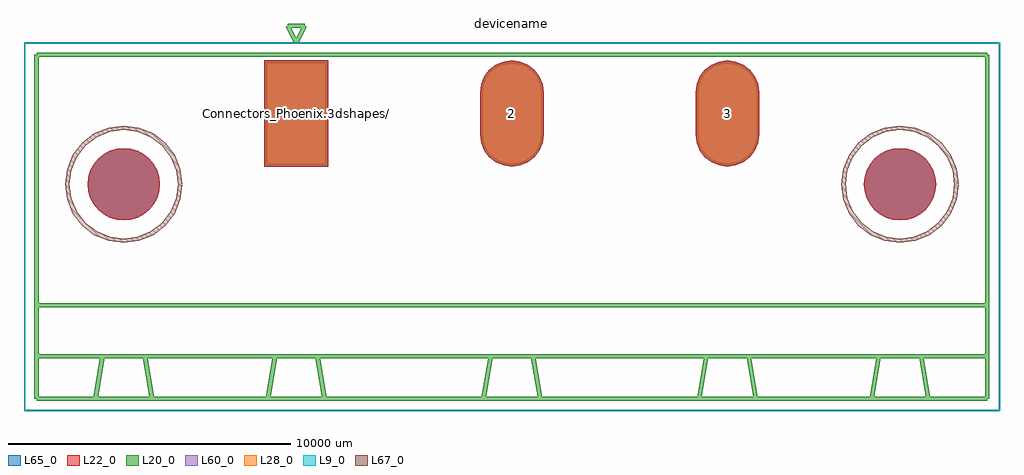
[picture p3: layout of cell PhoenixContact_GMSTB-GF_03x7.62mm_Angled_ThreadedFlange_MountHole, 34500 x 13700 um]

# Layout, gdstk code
import gdstk
lib = gdstk.Library(unit=1e-6, precision=1e-09)
def R(c, l, rs):  # rectangles x0, y0, x1, y1
    for r in rs: c.add(gdstk.rectangle(r[:2], r[2:], *l))
def P(c, l, *ps):  # polygons
    for p in ps: c.add(gdstk.Polygon(p, *l))
L9_0 = (9, 0)
L20_0 = (20, 0)
L22_0 = (22, 0)
L28_0 = (28, 0)
L60_0 = (60, 0)
L65_0 = (65, 0)
L67_0 = (67, 0)

phoenixcontact_gmstb_gf_ = lib.new_cell('PhoenixContact_GMSTB-GF_03x7.62mm_Angled_ThreadedFlange_MountHole')
R(phoenixcontact_gmstb_gf_, L22_0, [(-1125,-1875,1125,1875)])
P(phoenixcontact_gmstb_gf_, L22_0, [(22615,-2500),(22590.501,-2251.26),(22517.946,-2012.079),(22400.124,-1791.648),(22241.561,-1598.439),(22048.352,-1439.876),(21827.921,-1322.054),(21588.74,-1249.499),(21340,-1225),(21091.26,-1249.499),(20852.079,-1322.054),(20631.648,-1439.876),(20438.439,-1598.439),(20279.876,-1791.648),(20162.054,-2012.079),(20089.499,-2251.26),(20065,-2500),(20089.499,-2748.74),(20162.054,-2987.921),(20279.876,-3208.352),(20438.439,-3401.561),(20631.648,-3560.124),(20852.079,-3677.946),(21091.26,-3750.501),(21340,-3775),(21588.74,-3750.501),(21827.921,-3677.946),(22048.352,-3560.124),(22241.561,-3401.561),(22400.124,-3208.352),(22517.946,-2987.921),(22590.501,-2748.74)],
  [(-4825,-2500),(-4849.499,-2251.26),(-4922.054,-2012.079),(-5039.876,-1791.648),(-5198.439,-1598.439),(-5391.648,-1439.876),(-5612.079,-1322.054),(-5851.26,-1249.499),(-6100,-1225),(-6348.74,-1249.499),(-6587.921,-1322.054),(-6808.352,-1439.876),(-7001.561,-1598.439),(-7160.124,-1791.648),(-7277.946,-2012.079),(-7350.501,-2251.26),(-7375,-2500),(-7350.501,-2748.74),(-7277.946,-2987.921),(-7160.124,-3208.352),(-7001.561,-3401.561),(-6808.352,-3560.124),(-6587.921,-3677.946),(-6348.74,-3750.501),(-6100,-3775),(-5851.26,-3750.501),(-5612.079,-3677.946),(-5391.648,-3560.124),(-5198.439,-3401.561),(-5039.876,-3208.352),(-4922.054,-2987.921),(-4849.499,-2748.74)],
  [(15240,-1875),(15531.171,-1836.667),(15802.5,-1724.279),(16035.495,-1545.495),(16214.279,-1312.5),(16326.667,-1041.171),(16365,-750),(16365,750),(16326.667,1041.171),(16214.279,1312.5),(16035.495,1545.495),(15802.5,1724.279),(15531.171,1836.667),(15240,1875),(14948.829,1836.667),(14677.5,1724.279),(14444.505,1545.495),(14265.721,1312.5),(14153.333,1041.171),(14115,750),(14115,-750),(14153.333,-1041.171),(14265.721,-1312.5),(14444.505,-1545.495),(14677.5,-1724.279),(14948.829,-1836.667)],
  [(7620,-1875),(7911.171,-1836.667),(8182.5,-1724.279),(8415.495,-1545.495),(8594.279,-1312.5),(8706.667,-1041.171),(8745,-750),(8745,750),(8706.667,1041.171),(8594.279,1312.5),(8415.495,1545.495),(8182.5,1724.279),(7911.171,1836.667),(7620,1875),(7328.829,1836.667),(7057.5,1724.279),(6824.505,1545.495),(6645.721,1312.5),(6533.333,1041.171),(6495,750),(6495,-750),(6533.333,-1041.171),(6645.721,-1312.5),(6824.505,-1545.495),(7057.5,-1724.279),(7328.829,-1836.667)])
R(phoenixcontact_gmstb_gf_, L28_0, [(-1050,-1800,1050,1800)])
P(phoenixcontact_gmstb_gf_, L28_0, [(15240,-1800),(15511.76,-1764.222),(15765,-1659.327),(15982.462,-1492.462),(16149.327,-1275),(16254.222,-1021.76),(16290,-750),(16290,750),(16254.222,1021.76),(16149.327,1275),(15982.462,1492.462),(15765,1659.327),(15511.76,1764.222),(15240,1800),(14968.24,1764.222),(14715,1659.327),(14497.538,1492.462),(14330.673,1275),(14225.778,1021.76),(14190,750),(14190,-750),(14225.778,-1021.76),(14330.673,-1275),(14497.538,-1492.462),(14715,-1659.327),(14968.24,-1764.222)],
  [(7620,-1800),(7891.76,-1764.222),(8145,-1659.327),(8362.462,-1492.462),(8529.327,-1275),(8634.222,-1021.76),(8670,-750),(8670,750),(8634.222,1021.76),(8529.327,1275),(8362.462,1492.462),(8145,1659.327),(7891.76,1764.222),(7620,1800),(7348.24,1764.222),(7095,1659.327),(6877.538,1492.462),(6710.673,1275),(6605.778,1021.76),(6570,750),(6570,-750),(6605.778,-1021.76),(6710.673,-1275),(6877.538,-1492.462),(7095,-1659.327),(7348.24,-1764.222)])
R(phoenixcontact_gmstb_gf_, L60_0, [(-1050,-1800,1050,1800)])
P(phoenixcontact_gmstb_gf_, L60_0, [(15240,-1800),(15511.76,-1764.222),(15765,-1659.327),(15982.462,-1492.462),(16149.327,-1275),(16254.222,-1021.76),(16290,-750),(16290,750),(16254.222,1021.76),(16149.327,1275),(15982.462,1492.462),(15765,1659.327),(15511.76,1764.222),(15240,1800),(14968.24,1764.222),(14715,1659.327),(14497.538,1492.462),(14330.673,1275),(14225.778,1021.76),(14190,750),(14190,-750),(14225.778,-1021.76),(14330.673,-1275),(14497.538,-1492.462),(14715,-1659.327),(14968.24,-1764.222)],
  [(7620,-1800),(7891.76,-1764.222),(8145,-1659.327),(8362.462,-1492.462),(8529.327,-1275),(8634.222,-1021.76),(8670,-750),(8670,750),(8634.222,1021.76),(8529.327,1275),(8362.462,1492.462),(8145,1659.327),(7891.76,1764.222),(7620,1800),(7348.24,1764.222),(7095,1659.327),(6877.538,1492.462),(6710.673,1275),(6605.778,1021.76),(6570,750),(6570,-750),(6605.778,-1021.76),(6710.673,-1275),(6877.538,-1492.462),(7095,-1659.327),(7348.24,-1764.222)])
R(phoenixcontact_gmstb_gf_, L65_0, [(-1125,-1875,1125,1875)])
P(phoenixcontact_gmstb_gf_, L65_0, [(22615,-2500),(22590.501,-2251.26),(22517.946,-2012.079),(22400.124,-1791.648),(22241.561,-1598.439),(22048.352,-1439.876),(21827.921,-1322.054),(21588.74,-1249.499),(21340,-1225),(21091.26,-1249.499),(20852.079,-1322.054),(20631.648,-1439.876),(20438.439,-1598.439),(20279.876,-1791.648),(20162.054,-2012.079),(20089.499,-2251.26),(20065,-2500),(20089.499,-2748.74),(20162.054,-2987.921),(20279.876,-3208.352),(20438.439,-3401.561),(20631.648,-3560.124),(20852.079,-3677.946),(21091.26,-3750.501),(21340,-3775),(21588.74,-3750.501),(21827.921,-3677.946),(22048.352,-3560.124),(22241.561,-3401.561),(22400.124,-3208.352),(22517.946,-2987.921),(22590.501,-2748.74)],
  [(-4825,-2500),(-4849.499,-2251.26),(-4922.054,-2012.079),(-5039.876,-1791.648),(-5198.439,-1598.439),(-5391.648,-1439.876),(-5612.079,-1322.054),(-5851.26,-1249.499),(-6100,-1225),(-6348.74,-1249.499),(-6587.921,-1322.054),(-6808.352,-1439.876),(-7001.561,-1598.439),(-7160.124,-1791.648),(-7277.946,-2012.079),(-7350.501,-2251.26),(-7375,-2500),(-7350.501,-2748.74),(-7277.946,-2987.921),(-7160.124,-3208.352),(-7001.561,-3401.561),(-6808.352,-3560.124),(-6587.921,-3677.946),(-6348.74,-3750.501),(-6100,-3775),(-5851.26,-3750.501),(-5612.079,-3677.946),(-5391.648,-3560.124),(-5198.439,-3401.561),(-5039.876,-3208.352),(-4922.054,-2987.921),(-4849.499,-2748.74)],
  [(15240,-1875),(15531.171,-1836.667),(15802.5,-1724.279),(16035.495,-1545.495),(16214.279,-1312.5),(16326.667,-1041.171),(16365,-750),(16365,750),(16326.667,1041.171),(16214.279,1312.5),(16035.495,1545.495),(15802.5,1724.279),(15531.171,1836.667),(15240,1875),(14948.829,1836.667),(14677.5,1724.279),(14444.505,1545.495),(14265.721,1312.5),(14153.333,1041.171),(14115,750),(14115,-750),(14153.333,-1041.171),(14265.721,-1312.5),(14444.505,-1545.495),(14677.5,-1724.279),(14948.829,-1836.667)],
  [(7620,-1875),(7911.171,-1836.667),(8182.5,-1724.279),(8415.495,-1545.495),(8594.279,-1312.5),(8706.667,-1041.171),(8745,-750),(8745,750),(8706.667,1041.171),(8594.279,1312.5),(8415.495,1545.495),(8182.5,1724.279),(7911.171,1836.667),(7620,1875),(7328.829,1836.667),(7057.5,1724.279),(6824.505,1545.495),(6645.721,1312.5),(6533.333,1041.171),(6495,750),(6495,-750),(6533.333,-1041.171),(6645.721,-1312.5),(6824.505,-1545.495),(7057.5,-1724.279),(7328.829,-1836.667)])
phoenixcontact_gmstb_gf_.add(gdstk.FlexPath([(-300,3100),(0,2500)], 149.998, ends="flush", simple_path=True, layer=20, datatype=0))  # L20_0
phoenixcontact_gmstb_gf_.add(gdstk.FlexPath([(300,3100),(-300,3100)], 149.998, ends="flush", simple_path=True, layer=20, datatype=0))  # L20_0
phoenixcontact_gmstb_gf_.add(gdstk.FlexPath([(0,2500),(300,3100)], 149.998, ends="flush", simple_path=True, layer=20, datatype=0))  # L20_0
phoenixcontact_gmstb_gf_.add(gdstk.FlexPath([(24850,2500),(-9600,2500)], 50, ends="flush", simple_path=True, layer=9, datatype=0))  # L9_0
phoenixcontact_gmstb_gf_.add(gdstk.FlexPath([(24850,-10500),(24850,2500)], 50, ends="flush", simple_path=True, layer=9, datatype=0))  # L9_0
phoenixcontact_gmstb_gf_.add(gdstk.FlexPath([(-9600,-10500),(24850,-10500)], 50, ends="flush", simple_path=True, layer=9, datatype=0))  # L9_0
phoenixcontact_gmstb_gf_.add(gdstk.FlexPath([(-9600,2500),(-9600,-10500)], 50, ends="flush", simple_path=True, layer=9, datatype=0))  # L9_0
phoenixcontact_gmstb_gf_.add(gdstk.FlexPath([(14490,-8580),(14240,-10080)], 149.998, ends="flush", simple_path=True, layer=20, datatype=0))  # L20_0
phoenixcontact_gmstb_gf_.add(gdstk.FlexPath([(15990,-8580),(14490,-8580)], 149.998, ends="flush", simple_path=True, layer=20, datatype=0))  # L20_0
phoenixcontact_gmstb_gf_.add(gdstk.FlexPath([(16240,-10080),(15990,-8580)], 149.998, ends="flush", simple_path=True, layer=20, datatype=0))  # L20_0
phoenixcontact_gmstb_gf_.add(gdstk.FlexPath([(14240,-10080),(16240,-10080)], 149.998, ends="flush", simple_path=True, layer=20, datatype=0))  # L20_0
phoenixcontact_gmstb_gf_.add(gdstk.FlexPath([(6870,-8580),(6620,-10080)], 149.998, ends="flush", simple_path=True, layer=20, datatype=0))  # L20_0
phoenixcontact_gmstb_gf_.add(gdstk.FlexPath([(8370,-8580),(6870,-8580)], 149.998, ends="flush", simple_path=True, layer=20, datatype=0))  # L20_0
phoenixcontact_gmstb_gf_.add(gdstk.FlexPath([(8620,-10080),(8370,-8580)], 149.998, ends="flush", simple_path=True, layer=20, datatype=0))  # L20_0
phoenixcontact_gmstb_gf_.add(gdstk.FlexPath([(6620,-10080),(8620,-10080)], 149.998, ends="flush", simple_path=True, layer=20, datatype=0))  # L20_0
phoenixcontact_gmstb_gf_.add(gdstk.FlexPath([(-750,-8580),(-1000,-10080)], 149.998, ends="flush", simple_path=True, layer=20, datatype=0))  # L20_0
phoenixcontact_gmstb_gf_.add(gdstk.FlexPath([(750,-8580),(-750,-8580)], 149.998, ends="flush", simple_path=True, layer=20, datatype=0))  # L20_0
phoenixcontact_gmstb_gf_.add(gdstk.FlexPath([(1000,-10080),(750,-8580)], 149.998, ends="flush", simple_path=True, layer=20, datatype=0))  # L20_0
phoenixcontact_gmstb_gf_.add(gdstk.FlexPath([(-1000,-10080),(1000,-10080)], 149.998, ends="flush", simple_path=True, layer=20, datatype=0))  # L20_0
phoenixcontact_gmstb_gf_.add(gdstk.FlexPath([(20590,-8580),(20340,-10080)], 149.998, ends="flush", simple_path=True, layer=20, datatype=0))  # L20_0
phoenixcontact_gmstb_gf_.add(gdstk.FlexPath([(22090,-8580),(20590,-8580)], 149.998, ends="flush", simple_path=True, layer=20, datatype=0))  # L20_0
phoenixcontact_gmstb_gf_.add(gdstk.FlexPath([(22340,-10080),(22090,-8580)], 149.998, ends="flush", simple_path=True, layer=20, datatype=0))  # L20_0
phoenixcontact_gmstb_gf_.add(gdstk.FlexPath([(20340,-10080),(22340,-10080)], 149.998, ends="flush", simple_path=True, layer=20, datatype=0))  # L20_0
phoenixcontact_gmstb_gf_.add(gdstk.FlexPath([(-6850,-8580),(-7100,-10080)], 149.998, ends="flush", simple_path=True, layer=20, datatype=0))  # L20_0
phoenixcontact_gmstb_gf_.add(gdstk.FlexPath([(-5350,-8580),(-6850,-8580)], 149.998, ends="flush", simple_path=True, layer=20, datatype=0))  # L20_0
phoenixcontact_gmstb_gf_.add(gdstk.FlexPath([(-5100,-10080),(-5350,-8580)], 149.998, ends="flush", simple_path=True, layer=20, datatype=0))  # L20_0
phoenixcontact_gmstb_gf_.add(gdstk.FlexPath([(-7100,-10080),(-5100,-10080)], 149.998, ends="flush", simple_path=True, layer=20, datatype=0))  # L20_0
phoenixcontact_gmstb_gf_.add(gdstk.FlexPath([(24420,-8580),(-9180,-8580)], 149.998, ends="flush", simple_path=True, layer=20, datatype=0))  # L20_0
phoenixcontact_gmstb_gf_.add(gdstk.FlexPath([(24420,-6780),(24420,-8580)], 149.998, ends="flush", simple_path=True, layer=20, datatype=0))  # L20_0
phoenixcontact_gmstb_gf_.add(gdstk.FlexPath([(-9180,-6780),(24420,-6780)], 149.998, ends="flush", simple_path=True, layer=20, datatype=0))  # L20_0
phoenixcontact_gmstb_gf_.add(gdstk.FlexPath([(-9180,-8580),(-9180,-6780)], 149.998, ends="flush", simple_path=True, layer=20, datatype=0))  # L20_0
phoenixcontact_gmstb_gf_.add(gdstk.FlexPath([(24420,2080),(-9180,2080)], 149.998, ends="flush", simple_path=True, layer=20, datatype=0))  # L20_0
phoenixcontact_gmstb_gf_.add(gdstk.FlexPath([(24420,-10080),(24420,2080)], 149.998, ends="flush", simple_path=True, layer=20, datatype=0))  # L20_0
phoenixcontact_gmstb_gf_.add(gdstk.FlexPath([(-9180,-10080),(24420,-10080)], 149.998, ends="flush", simple_path=True, layer=20, datatype=0))  # L20_0
phoenixcontact_gmstb_gf_.add(gdstk.FlexPath([(-9180,2080),(-9180,-10080)], 149.998, ends="flush", simple_path=True, layer=20, datatype=0))  # L20_0
phoenixcontact_gmstb_gf_.add(gdstk.FlexPath([(23340,-2500),(23271.852,-1982.362),(23072.051,-1500),(22754.214,-1085.786),(22340,-767.949),(21857.638,-568.148),(21340,-500),(20822.362,-568.148),(20340,-767.949),(19925.786,-1085.786),(19607.949,-1500),(19408.148,-1982.362),(19340,-2500),(19408.148,-3017.638),(19607.949,-3500),(19925.786,-3914.214),(20340,-4232.051),(20822.362,-4431.852),(21340,-4500),(21857.638,-4431.852),(22340,-4232.051),(22754.214,-3914.214),(23072.051,-3500),(23271.852,-3017.638),(23340,-2500)], 149.998, ends="flush", simple_path=True, layer=67, datatype=0))  # L67_0
phoenixcontact_gmstb_gf_.add(gdstk.FlexPath([(-4100,-2500),(-4168.148,-1982.362),(-4367.949,-1500),(-4685.786,-1085.786),(-5100,-767.949),(-5582.362,-568.148),(-6100,-500),(-6617.638,-568.148),(-7100,-767.949),(-7514.214,-1085.786),(-7832.051,-1500),(-8031.852,-1982.362),(-8100,-2500),(-8031.852,-3017.638),(-7832.051,-3500),(-7514.214,-3914.214),(-7100,-4232.051),(-6617.638,-4431.852),(-6100,-4500),(-5582.362,-4431.852),(-5100,-4232.051),(-4685.786,-3914.214),(-4367.949,-3500),(-4168.148,-3017.638),(-4100,-2500)], 149.998, ends="flush", simple_path=True, layer=67, datatype=0))  # L67_0
phoenixcontact_gmstb_gf_.add(gdstk.Label('Connectors_Phoenix.3dshapes/PhoenixContact_GMSTB-GF_03x7.62mm_Angled_ThreadedFlange_MountHole.wrl', (0,0), layer=12, texttype=0))
phoenixcontact_gmstb_gf_.add(gdstk.Label('3', (15240,0), layer=28, texttype=0))
phoenixcontact_gmstb_gf_.add(gdstk.Label('2', (7620,0), layer=28, texttype=0))
phoenixcontact_gmstb_gf_.add(gdstk.Label('1', (0,0), layer=28, texttype=0))
phoenixcontact_gmstb_gf_.add(gdstk.Label('type', (7620,-11500), layer=9, texttype=0))
phoenixcontact_gmstb_gf_.add(gdstk.Label('devicename', (7620,3200), layer=9, texttype=0))

lib.write_gds('PhoenixContact_GMSTB-GF_03x7.62mm_Angled_ThreadedFlange_MountHole.gds')
